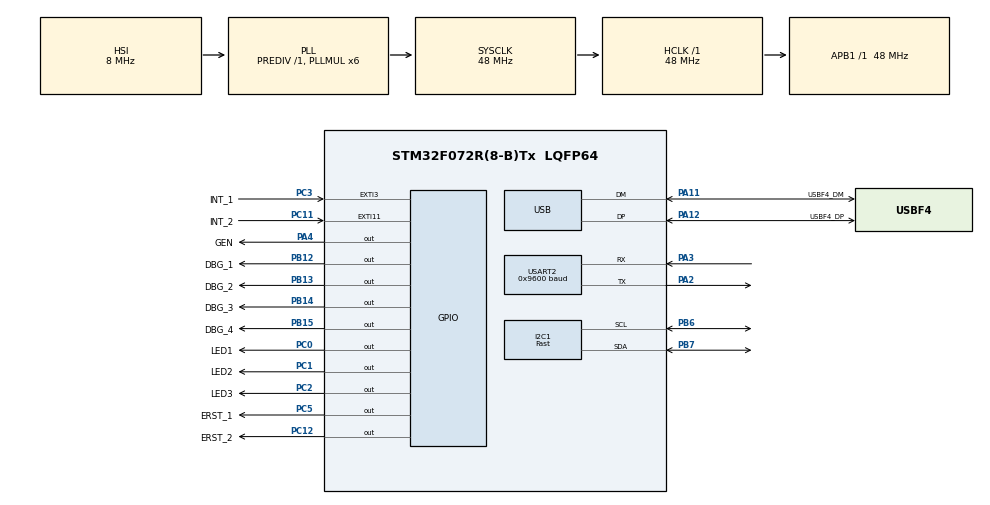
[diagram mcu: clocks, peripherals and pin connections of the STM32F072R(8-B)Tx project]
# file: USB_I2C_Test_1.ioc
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I2C1.I2C_Speed_Mode=I2C_Fast
I2C1.Timing=0x0000020B
Mcu.Family=STM32F0
Mcu.Name=STM32F072R(8-B)Tx
Mcu.Package=LQFP64
NVIC.EXTI2_3_IRQn=true\:0\:0\:false\:false\:true\:true\:true
NVIC.EXTI4_15_IRQn=true\:0\:0\:false\:false\:true\:true\:true
NVIC.TIM14_IRQn=true\:0\:0\:false\:false\:true\:true\:true
NVIC.TIM6_DAC_IRQn=true\:0\:0\:false\:false\:true\:true\:true
NVIC.TIM7_IRQn=true\:0\:0\:false\:false\:true\:true\:true
NVIC.USB_IRQn=true\:0\:0\:false\:false\:true\:false\:true
PA11.GPIO_Label=USBF4_DM
PA11.Mode=Device
PA11.Signal=USB_DM
PA12.GPIO_Label=USBF4_DP
PA12.Mode=Device
PA12.Signal=USB_DP
PA13.GPIO_Label=SWDIO
PA13.Mode=Serial_Wire
PA13.Signal=SYS_SWDIO
PA14.GPIO_Label=SWCLK
PA14.Mode=Serial_Wire
PA14.Signal=SYS_SWCLK
PA2.Mode=Asynchronous
PA2.Signal=USART2_TX
PA3.Mode=Asynchronous
PA3.Signal=USART2_RX
PA4.GPIO_Label=GEN
PA4.GPIO_Speed=GPIO_SPEED_FREQ_HIGH
PA4.Signal=GPIO_Output
PB10.GPIO_Label=I2C2_SCL[EXT/RF-E2P_SCL]
PB10.Signal=I2C2_SCL
PB11.GPIO_Label=I2C2_SDA[EXT/RF-E2P_SDA]
PB11.Signal=I2C2_SDA
PB12.GPIO_Label=DBG_1
PB12.Signal=GPIO_Output
PB13.GPIO_Label=DBG_2
PB13.Signal=GPIO_Output
PB14.GPIO_Label=DBG_3
PB14.Signal=GPIO_Output
PB15.GPIO_Label=DBG_4
PB15.Signal=GPIO_Output
PB6.Mode=I2C
PB6.Signal=I2C1_SCL
PB7.Mode=I2C
PB7.Signal=I2C1_SDA
PC0.GPIO_Label=LED1
PC0.GPIO_ModeDefaultOutputPP=GPIO_MODE_OUTPUT_OD
PC0.GPIO_Speed=GPIO_SPEED_FREQ_LOW
PC0.PinState=GPIO_PIN_SET
PC0.Signal=GPIO_Output
PC1.GPIO_Label=LED2
PC1.GPIO_ModeDefaultOutputPP=GPIO_MODE_OUTPUT_OD
PC1.PinState=GPIO_PIN_SET
PC1.Signal=GPIO_Output
PC11.GPIO_Label=INT_2
PC11.GPIO_ModeDefaultEXTI=GPIO_MODE_IT_FALLING
PC11.Signal=GPXTI11
PC12.GPIO_Label=ERST_2
PC12.GPIO_ModeDefaultOutputPP=GPIO_MODE_OUTPUT_OD
PC12.Signal=GPIO_Output
PC2.GPIO_Label=LED3
PC2.GPIO_ModeDefaultOutputPP=GPIO_MODE_OUTPUT_OD
PC2.PinState=GPIO_PIN_SET
PC2.Signal=GPIO_Output
PC3.GPIO_Label=INT_1
PC3.GPIO_ModeDefaultEXTI=GPIO_MODE_IT_FALLING
PC3.Signal=GPXTI3
PC5.GPIO_Label=ERST_1
PC5.GPIO_ModeDefaultOutputPP=GPIO_MODE_OUTPUT_OD
PC5.Signal=GPIO_Output
PF0-OSC_IN.Mode=HSE-External-Clock-Source
PF0-OSC_IN.Signal=RCC_OSC_IN
ProjectManager.HeapSize=0x800
ProjectManager.StackSize=0x600
ProjectManager.TargetToolchain=STM32CubeIDE
RCC.AHBFreq_Value=48000000
RCC.APB1Freq_Value=48000000
RCC.APB1TimFreq_Value=48000000
RCC.HCLKFreq_Value=48000000
RCC.PLLMUL=RCC_PLL_MUL6
RCC.SYSCLKFreq_VALUE=48000000
RCC.SYSCLKSource=RCC_SYSCLKSOURCE_PLLCLK
USART2.AutoBaudRateEnableParam=UART_ADVFEATURE_AUTOBAUDRATE_ENABLE
USART2.BaudRate=0x9600
USART2.VirtualMode-Asynchronous=VM_ASYNC
USB.lpm_enable=DISABLE
USB.phy_itface=PCD_PHY_EMBEDDED
USB.speed=PCD_SPEED_FULL
USB_DEVICE.CLASS_NAME_FS=CDC
USB_DEVICE.PRODUCT_STRING_CDC_FS=MHL Development Board
USB_DEVICE.USBD_SELF_POWERED=0
USB_DEVICE.VirtualMode=Cdc
USB_DEVICE.VirtualModeFS=Cdc_FS
VP_RCC_USB.Mode=CRS SYNC Source USB
VP_TIM14_VS_ClockSourceINT.Mode=Enable_Timer
VP_TIM6_VS_ClockSourceINT.Mode=Enable_Timer
VP_TIM7_VS_ClockSourceINT.Mode=Enable_Timer
VP_USB_DEVICE_VS_USB_DEVICE_CDC_FS.Mode=CDC_FS
board=STM32F072B-DISCO

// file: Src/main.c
/* USER CODE BEGIN Header */
/**
  ******************************************************************************
  * @file           : main.c
  * @brief          : Main program body
  ******************************************************************************
  * @attention
  *
  * <h2><center>&copy; Copyright (c) 2019 STMicroelectronics.
  * All rights reserved.</center></h2>
  *
  * This software component is licensed by ST under BSD 3-Clause license,
  * the "License"; You may not use this file except in compliance with the
  * License. You may obtain a copy of the License at:
  *                        opensource.org/licenses/BSD-3-Clause
  *
  ******************************************************************************
  */
/* USER CODE END Header */

#include "main.h"
#include "usb_device.h"

/* USER CODE BEGIN Includes */
#include "i2c_comm.h"
#include "usbd_cdc_if.h"
/* USER CODE END Includes */

/* USER CODE BEGIN PD */
#define EXP_OUTPUTS_ADDR (0x21)<<1
#define EXP_INPUTS_ADDR  (0x20)<<1

#define BUF_LENGTH 4
#define NUM_OF_COMMANDS 10

#define I2C_BUS_STATUS_LED 1
#define USB_STATUS_LED	   2
#define ERROR_LED		   3

#define ON	1
#define OFF 0
/* USER CODE END PD */

I2C_HandleTypeDef hi2c1;

TIM_HandleTypeDef htim6;
TIM_HandleTypeDef htim7;
TIM_HandleTypeDef htim14;

UART_HandleTypeDef huart2;

/* USER CODE BEGIN PV */

uint8_t is_USB_Connected;
uint8_t transmit_inputs;

uint8_t data_buffer[BUF_LENGTH];
uint8_t data_available;

uint8_t encoded_command_byte_2[NUM_OF_COMMANDS] = {0xA1,0xA2,0xA3,0xA4,0xA5, \
												   0xA6,0xA7,0xA8,0xA9,0xDC };

uint16_t inputs_read;

uint32_t timer6_counter;
uint32_t timer7_counter;
uint32_t timer14_counter;

/* USER CODE END PV */

void SystemClock_Config(void);
static void MX_GPIO_Init(void);
static void MX_I2C1_Init(void);
static void MX_USART2_UART_Init(void);
static void MX_TIM6_Init(void);
static void MX_TIM7_Init(void);
static void MX_TIM14_Init(void);
/* USER CODE BEGIN PFP */
void Reset_Expanders(void);
void flush_data_buffer(void);
void enable_interrupt_handlers(void);
int I2C_Peripherals_available();
void status_led_control(int led, int state);
void LED_Quick_Flash(void);
/* USER CODE END PFP */

int main(void)
{

  /* MCU Configuration--------------------------------------------------------*/

  /* Reset of all peripherals, Initializes the Flash interface and the Systick. */
  HAL_Init();

  /* USER CODE BEGIN Init */

  is_USB_Connected = 0;
  transmit_inputs = 0;
  flush_data_buffer();

  /* USER CODE END Init */

  /* Configure the system clock */
  SystemClock_Config();

  /* Initialize all configured peripherals */
  MX_GPIO_Init();
  MX_I2C1_Init();
  MX_USART2_UART_Init();
  MX_USB_DEVICE_Init();
  MX_TIM6_Init();
  MX_TIM7_Init();
  MX_TIM14_Init();
  /* USER CODE BEGIN 2 */
  LED_Quick_Flash();

  HAL_Delay(1000);

  Reset_Expanders();

  I2C_Peripherals_available();

  initialize_expanders(hi2c1);

  /*Test code here*/
  //configure_pupd_enable_registers(hi2c1, EXP_INPUTS_ADDR, 0xff);
  //configure_pupd_selection_registers(hi2c1, EXP_INPUTS_ADDR, 0x00);
  /*Test code above*/

  enable_interrupt_handlers();

  /* USER CODE END 2 */

  /* Infinite loop */
  /* USER CODE BEGIN WHILE */
  while (1)
  {
	  // For debugging info used with STMStudio
	  timer6_counter = TIM6->CNT;
	  timer7_counter = TIM7->CNT;
	  timer14_counter = TIM14->CNT;

	  if(data_available == 1)
	  {
		  if(data_buffer[0] == 0x00 || data_buffer[0] == 0xCB)
		  {
			  // Command 0xA1 -> Configure Outputs
			  if(data_buffer[1] == encoded_command_byte_2[0])
			  {
				  uint16_t tmp = ((data_buffer[2] <<8)| data_buffer[3]);
				  configure_outputs(hi2c1, tmp);
			  }

			  // Command 0xA2 -> Read Outputs State
			  else if(data_buffer[1] == encoded_command_byte_2[1])
			  {
				  uint16_t output_states;
				  output_states = read_all_outputs(hi2c1);

				  uint8_t output_states_buffer[2];

				  /* To identify that the transmitted data are outputs
				   * we send as first byte the byte 0xB2
				   */
				  output_states_buffer[0] = 0xB2;

				  output_states_buffer[1] = ((output_states)>>8);	//High Byte
				  output_states_buffer[2] = output_states;			//Low Byte

				  CDC_Transmit_FS(output_states_buffer, 3);
			  }

			  // Command 0xA3 -> Read Inputs State
			  else if(data_buffer[1] == encoded_command_byte_2[2])
			  {
				  uint16_t inputs_states;
				  inputs_states = read_all_inputs(hi2c1);

				  uint8_t inputs_states_buffer[3];

				  /* To identify that the transmitted data are inputs
				   * we send as first byte the byte 0xB1
				   */
				  inputs_states_buffer[0] = 0xB1;

				  inputs_states_buffer[1] = ((inputs_states)>>8); //High byte
				  inputs_states_buffer[2] =   inputs_states;	  //Low  byte
				  CDC_Transmit_FS(inputs_states_buffer, 3);
			  }

			  // Command 0xA4 -> Generate clock pulse
			  else if(data_buffer[1] == encoded_command_byte_2[3])
			  {
				  /* Start the countdown timer */
				  HAL_GPIO_WritePin(GEN_GPIO_Port, GEN_Pin, GPIO_PIN_SET);
				  HAL_TIM_Base_Start(&htim6);
			  }

			  // Command 0xA5 -> Establish Connection
			  else if(data_buffer[1] == encoded_command_byte_2[4])
			  {
				  if(data_buffer[2] == 0x75 && data_buffer[3] == 0x31)
				  {
					/* Refresh the "Lost connection with PC" timer */
					TIM14->CNT = 0;

					  is_USB_Connected = 1;
					  status_led_control(USB_STATUS_LED, ON);
				  }
			  }

			  // Command 0xA6 -> Connection OK Report Message
			  else if(data_buffer[1] == encoded_command_byte_2[5])
			  {
				  TIM14->CNT = 0;
				  is_USB_Connected = 1;
			  }

			  // Command 0xA7 -> Disconnect Dev Board
			  else if(data_buffer[1] == encoded_command_byte_2[6])
			  {
				  is_USB_Connected = 0;
				  status_led_control(USB_STATUS_LED, OFF);
			  }

			  else if(data_buffer[1] == encoded_command_byte_2[7])
			  {

			  }

			  else if(data_buffer[1] == encoded_command_byte_2[8])
			  {

			  }
			  else if(data_buffer[1] == encoded_command_byte_2[9])
			  {
				  //DEBUG

			  }
			  else
			  {

			  }

		  }

		  data_available = 0;
		  flush_data_buffer();
	  }

	  if(transmit_inputs == 1 && is_USB_Connected==1)
	  {
	  	  uint16_t inputs_states;
	  	  inputs_states = read_all_inputs(hi2c1);

	  	  uint8_t inputs_states_buffer[3];

	  	  /* To identify we send back the state of the inputs
	  	   * we send the byte 0xB1
	  	   */
	  	  inputs_states_buffer[0] = 0xB1;

	  	  inputs_states_buffer[1] = ((inputs_states)>>8); //High byte
	  	  inputs_states_buffer[2] =   inputs_states;	  //Low  byte
	  	  CDC_Transmit_FS(inputs_states_buffer, 3);

	  	  transmit_inputs = 0;

	  	  /* Debounce time when input is unstable
	  	   * to avoid system congestion (by
         * flooding the communication channel) */
	  	  HAL_Delay(20);
	  }

	  //DBG
    //HAL_GPIO_WritePin(LD5_GPIO_Port,LD5_Pin,HAL_GPIO_ReadPin(INT_1_GPIO_Port,INT_1_Pin));

	  /*else
	  {
	  	  //__NOP();
		  uint8_t tmp_buf[4] = {0x57,0x4F,0x4C,0x46};
	  	  CDC_Transmit_FS(tmp_buf, 4);
	  	  HAL_Delay(2000);
	  }*/

	  /*
	  GPIO_PinState tmp_read;
	  tmp_read = HAL_GPIO_ReadPin(INT_1_GPIO_Port, INT_1_Pin);

	  HAL_GPIO_WritePin(LD5_GPIO_Port, LD5_Pin, tmp_read);

	  if(HAL_GPIO_ReadPin(B1_GPIO_Port, B1_Pin) == GPIO_PIN_SET)
	  {
		  while(HAL_GPIO_ReadPin(B1_GPIO_Port, B1_Pin) != GPIO_PIN_RESET)
		  {

		  }
		  inputs_read = read_all_inputs(hi2c1);
	  }
	  */

    /* USER CODE END WHILE */

  }
}

void SystemClock_Config(void)
{
  RCC_OscInitTypeDef RCC_OscInitStruct = {0};
  RCC_ClkInitTypeDef RCC_ClkInitStruct = {0};
  RCC_PeriphCLKInitTypeDef PeriphClkInit = {0};
  RCC_CRSInitTypeDef RCC_CRSInitStruct = {0};

  /** Initializes the CPU, AHB and APB busses clocks
  */
  RCC_OscInitStruct.OscillatorType = RCC_OSCILLATORTYPE_HSI|RCC_OSCILLATORTYPE_HSI48;
  RCC_OscInitStruct.HSIState = RCC_HSI_ON;
  RCC_OscInitStruct.HSI48State = RCC_HSI48_ON;
  RCC_OscInitStruct.HSICalibrationValue = RCC_HSICALIBRATION_DEFAULT;
  RCC_OscInitStruct.PLL.PLLState = RCC_PLL_ON;
  RCC_OscInitStruct.PLL.PLLSource = RCC_PLLSOURCE_HSI;
  RCC_OscInitStruct.PLL.PLLMUL = RCC_PLL_MUL6;
  RCC_OscInitStruct.PLL.PREDIV = RCC_PREDIV_DIV1;
  if (HAL_RCC_OscConfig(&RCC_OscInitStruct) != HAL_OK)
  {
    Error_Handler();
  }
  /** Initializes the CPU, AHB and APB busses clocks
  */
  RCC_ClkInitStruct.ClockType = RCC_CLOCKTYPE_HCLK|RCC_CLOCKTYPE_SYSCLK
                              |RCC_CLOCKTYPE_PCLK1;
  RCC_ClkInitStruct.SYSCLKSource = RCC_SYSCLKSOURCE_PLLCLK;
  RCC_ClkInitStruct.AHBCLKDivider = RCC_SYSCLK_DIV1;
  RCC_ClkInitStruct.APB1CLKDivider = RCC_HCLK_DIV1;

  if (HAL_RCC_ClockConfig(&RCC_ClkInitStruct, FLASH_LATENCY_1) != HAL_OK)
  {
    Error_Handler();
  }
  PeriphClkInit.PeriphClockSelection = RCC_PERIPHCLK_USB|RCC_PERIPHCLK_USART2
                              |RCC_PERIPHCLK_I2C1;
  PeriphClkInit.Usart2ClockSelection = RCC_USART2CLKSOURCE_PCLK1;
  PeriphClkInit.I2c1ClockSelection = RCC_I2C1CLKSOURCE_HSI;
  PeriphClkInit.UsbClockSelection = RCC_USBCLKSOURCE_HSI48;

  if (HAL_RCCEx_PeriphCLKConfig(&PeriphClkInit) != HAL_OK)
  {
    Error_Handler();
  }
  /** Enable the SYSCFG APB clock
  */
  __HAL_RCC_CRS_CLK_ENABLE();
  /** Configures CRS
  */
  RCC_CRSInitStruct.Prescaler = RCC_CRS_SYNC_DIV1;
  RCC_CRSInitStruct.Source = RCC_CRS_SYNC_SOURCE_USB;
  RCC_CRSInitStruct.Polarity = RCC_CRS_SYNC_POLARITY_RISING;
  RCC_CRSInitStruct.ReloadValue = __HAL_RCC_CRS_RELOADVALUE_CALCULATE(48000000,1000);
  RCC_CRSInitStruct.ErrorLimitValue = 34;
  RCC_CRSInitStruct.HSI48CalibrationValue = 32;

  HAL_RCCEx_CRSConfig(&RCC_CRSInitStruct);
}

static void MX_I2C1_Init(void)
{

  hi2c1.Instance = I2C1;
  hi2c1.Init.Timing = 0x0000020B;
  hi2c1.Init.OwnAddress1 = 0;
  hi2c1.Init.AddressingMode = I2C_ADDRESSINGMODE_7BIT;
  hi2c1.Init.DualAddressMode = I2C_DUALADDRESS_DISABLE;
  hi2c1.Init.OwnAddress2 = 0;
  hi2c1.Init.OwnAddress2Masks = I2C_OA2_NOMASK;
  hi2c1.Init.GeneralCallMode = I2C_GENERALCALL_DISABLE;
  hi2c1.Init.NoStretchMode = I2C_NOSTRETCH_DISABLE;
  if (HAL_I2C_Init(&hi2c1) != HAL_OK)
  {
    Error_Handler();
  }
  /** Configure Analogue filter
  */
  if (HAL_I2CEx_ConfigAnalogFilter(&hi2c1, I2C_ANALOGFILTER_ENABLE) != HAL_OK)
  {
    Error_Handler();
  }
  /** Configure Digital filter
  */
  if (HAL_I2CEx_ConfigDigitalFilter(&hi2c1, 0) != HAL_OK)
  {
    Error_Handler();
  }

}

static void MX_TIM6_Init(void)
{

  TIM_MasterConfigTypeDef sMasterConfig = {0};

  /* USER CODE BEGIN TIM6_Init 1 */

  //Prescaler value : 100-1
  //Period value : 480-1

  /* USER CODE END TIM6_Init 1 */
  htim6.Instance = TIM6;
  htim6.Init.Prescaler = 100-1;
  htim6.Init.CounterMode = TIM_COUNTERMODE_UP;
  htim6.Init.Period = 480-1;
  htim6.Init.AutoReloadPreload = TIM_AUTORELOAD_PRELOAD_DISABLE;
  if (HAL_TIM_Base_Init(&htim6) != HAL_OK)
  {
    Error_Handler();
  }
  sMasterConfig.MasterOutputTrigger = TIM_TRGO_RESET;
  sMasterConfig.MasterSlaveMode = TIM_MASTERSLAVEMODE_DISABLE;
  if (HAL_TIMEx_MasterConfigSynchronization(&htim6, &sMasterConfig) != HAL_OK)
  {
    Error_Handler();
  }
  /* USER CODE BEGIN TIM6_Init 2 */

  if (HAL_TIM_Base_Start_IT(&htim6) != HAL_OK)
  {
  	  /* Starting Error */
  	  Error_Handler();
  }

  /* Initially we want the CLK Generation timer
   * to be deactivated. It's activated when the
   * generation command arrives from the PC.
   */
  HAL_TIM_Base_Stop(&htim6);

  /* USER CODE END TIM6_Init 2 */

}

static void MX_TIM7_Init(void)
{

  TIM_MasterConfigTypeDef sMasterConfig = {0};

  /* USER CODE BEGIN TIM7_Init 1 */

  //We configure Timer 7 (TIM7) to have a frequency
  	//of 1000Hz (T=50ms) used create a 1ms timebase
  	//so it transmits the output states every one ms

  //Prescaler value : 500-1
    //Period value : 4800-1

  /* USER CODE END TIM7_Init 1 */
  htim7.Instance = TIM7;
  htim7.Init.Prescaler = 500-1;
  htim7.Init.CounterMode = TIM_COUNTERMODE_UP;
  htim7.Init.Period = 4800-1;
  htim7.Init.AutoReloadPreload = TIM_AUTORELOAD_PRELOAD_DISABLE;
  if (HAL_TIM_Base_Init(&htim7) != HAL_OK)
  {
    Error_Handler();
  }
  sMasterConfig.MasterOutputTrigger = TIM_TRGO_RESET;
  sMasterConfig.MasterSlaveMode = TIM_MASTERSLAVEMODE_DISABLE;
  if (HAL_TIMEx_MasterConfigSynchronization(&htim7, &sMasterConfig) != HAL_OK)
  {
    Error_Handler();
  }
  /* USER CODE BEGIN TIM7_Init 2 */

  if (HAL_TIM_Base_Start_IT(&htim7) != HAL_OK)
  {
  	  /* Starting Error */
  	  Error_Handler();
  }

  /* USER CODE END TIM7_Init 2 */

}

static void MX_TIM14_Init(void)
{

  /* USER CODE BEGIN TIM14_Init 1 */

	//We configure Timer 14 (TIM14) to have a frequency
	//of 0.2Hz (T=5sec) used to check if the USB connection
	//is still alive

	//Presc Value : 10000
	//Period Value : 24000

  /* USER CODE END TIM14_Init 1 */
  htim14.Instance = TIM14;
  htim14.Init.Prescaler = 10000-1;
  htim14.Init.CounterMode = TIM_COUNTERMODE_UP;
  htim14.Init.Period = 24000-1;
  htim14.Init.ClockDivision = TIM_CLOCKDIVISION_DIV1;
  htim14.Init.AutoReloadPreload = TIM_AUTORELOAD_PRELOAD_DISABLE;
  if (HAL_TIM_Base_Init(&htim14) != HAL_OK)
  {
    Error_Handler();
  }
  /* USER CODE BEGIN TIM14_Init 2 */

  if (HAL_TIM_Base_Start_IT(&htim14) != HAL_OK)
  {
  	  /* Starting Error */
  	  Error_Handler();
  }

  /* USER CODE END TIM14_Init 2 */

}

static void MX_USART2_UART_Init(void)
{

  huart2.Instance = USART2;
  huart2.Init.BaudRate = 0x9600;
  huart2.Init.WordLength = UART_WORDLENGTH_8B;
  huart2.Init.StopBits = UART_STOPBITS_1;
  huart2.Init.Parity = UART_PARITY_NONE;
  huart2.Init.Mode = UART_MODE_TX_RX;
  huart2.Init.HwFlowCtl = UART_HWCONTROL_NONE;
  huart2.Init.OverSampling = UART_OVERSAMPLING_16;
  huart2.Init.OneBitSampling = UART_ONE_BIT_SAMPLE_DISABLE;
  huart2.AdvancedInit.AdvFeatureInit = UART_ADVFEATURE_AUTOBAUDRATE_INIT;
  huart2.AdvancedInit.AutoBaudRateEnable = UART_ADVFEATURE_AUTOBAUDRATE_ENABLE;
  huart2.AdvancedInit.AutoBaudRateMode = UART_ADVFEATURE_AUTOBAUDRATE_ONSTARTBIT;
  if (HAL_UART_Init(&huart2) != HAL_OK)
  {
    Error_Handler();
  }

}

static void MX_GPIO_Init(void)
{
  GPIO_InitTypeDef GPIO_InitStruct = {0};

  /* GPIO Ports Clock Enable */
  __HAL_RCC_GPIOC_CLK_ENABLE();
  __HAL_RCC_GPIOF_CLK_ENABLE();
  __HAL_RCC_GPIOA_CLK_ENABLE();
  __HAL_RCC_GPIOB_CLK_ENABLE();
  __HAL_RCC_GPIOD_CLK_ENABLE();

  /*Configure GPIO pin Output Level */
  HAL_GPIO_WritePin(GPIOC, LED1_Pin|LED2_Pin|LED3_Pin, GPIO_PIN_SET);

  /*Configure GPIO pin Output Level */
  HAL_GPIO_WritePin(GEN_GPIO_Port, GEN_Pin, GPIO_PIN_RESET);

  /*Configure GPIO pin Output Level */
  HAL_GPIO_WritePin(GPIOC, ERST_1_Pin|ERST_2_Pin, GPIO_PIN_RESET);

  /*Configure GPIO pin Output Level */
  HAL_GPIO_WritePin(GPIOB, DBG_1_Pin|DBG_2_Pin|DBG_3_Pin|DBG_4_Pin, GPIO_PIN_RESET);

  /*Configure GPIO pins : PC13 PC14 PC15 PC4
                           PC6 PC7 PC8 PC9
                           PC10 */
  GPIO_InitStruct.Pin = GPIO_PIN_13|GPIO_PIN_14|GPIO_PIN_15|GPIO_PIN_4
                          |GPIO_PIN_6|GPIO_PIN_7|GPIO_PIN_8|GPIO_PIN_9
                          |GPIO_PIN_10;
  GPIO_InitStruct.Mode = GPIO_MODE_ANALOG;
  GPIO_InitStruct.Pull = GPIO_NOPULL;
  HAL_GPIO_Init(GPIOC, &GPIO_InitStruct);

  /*Configure GPIO pin : PF1 */
  GPIO_InitStruct.Pin = GPIO_PIN_1;
  GPIO_InitStruct.Mode = GPIO_MODE_ANALOG;
  GPIO_InitStruct.Pull = GPIO_NOPULL;
  HAL_GPIO_Init(GPIOF, &GPIO_InitStruct);

  /*Configure GPIO pins : LED1_Pin LED2_Pin LED3_Pin ERST_1_Pin
                           ERST_2_Pin */
  GPIO_InitStruct.Pin = LED1_Pin|LED2_Pin|LED3_Pin|ERST_1_Pin
                          |ERST_2_Pin;
  GPIO_InitStruct.Mode = GPIO_MODE_OUTPUT_OD;
  GPIO_InitStruct.Pull = GPIO_NOPULL;
  GPIO_InitStruct.Speed = GPIO_SPEED_FREQ_LOW;
  HAL_GPIO_Init(GPIOC, &GPIO_InitStruct);

  /*Configure GPIO pins : INT_1_Pin INT_2_Pin */
  GPIO_InitStruct.Pin = INT_1_Pin|INT_2_Pin;
  GPIO_InitStruct.Mode = GPIO_MODE_IT_FALLING;
  GPIO_InitStruct.Pull = GPIO_NOPULL;
  HAL_GPIO_Init(GPIOC, &GPIO_InitStruct);

  /*Configure GPIO pins : PA0 PA1 PA5 PA6
                           PA7 PA8 PA9 PA10
                           PA15 */
  GPIO_InitStruct.Pin = GPIO_PIN_0|GPIO_PIN_1|GPIO_PIN_5|GPIO_PIN_6
                          |GPIO_PIN_7|GPIO_PIN_8|GPIO_PIN_9|GPIO_PIN_10
                          |GPIO_PIN_15;
  GPIO_InitStruct.Mode = GPIO_MODE_ANALOG;
  GPIO_InitStruct.Pull = GPIO_NOPULL;
  HAL_GPIO_Init(GPIOA, &GPIO_InitStruct);

  /*Configure GPIO pin : GEN_Pin */
  GPIO_InitStruct.Pin = GEN_Pin;
  GPIO_InitStruct.Mode = GPIO_MODE_OUTPUT_PP;
  GPIO_InitStruct.Pull = GPIO_NOPULL;
  GPIO_InitStruct.Speed = GPIO_SPEED_FREQ_HIGH;
  HAL_GPIO_Init(GEN_GPIO_Port, &GPIO_InitStruct);

  /*Configure GPIO pins : PB0 PB1 PB2 PB3
                           PB4 PB5 PB8 PB9 */
  GPIO_InitStruct.Pin = GPIO_PIN_0|GPIO_PIN_1|GPIO_PIN_2|GPIO_PIN_3
                          |GPIO_PIN_4|GPIO_PIN_5|GPIO_PIN_8|GPIO_PIN_9;
  GPIO_InitStruct.Mode = GPIO_MODE_ANALOG;
  GPIO_InitStruct.Pull = GPIO_NOPULL;
  HAL_GPIO_Init(GPIOB, &GPIO_InitStruct);

  /*Configure GPIO pins : I2C2_SCL_Pin I2C2_SDA_Pin */
  GPIO_InitStruct.Pin = I2C2_SCL_Pin|I2C2_SDA_Pin;
  GPIO_InitStruct.Mode = GPIO_MODE_AF_OD;
  GPIO_InitStruct.Pull = GPIO_PULLUP;
  GPIO_InitStruct.Speed = GPIO_SPEED_FREQ_HIGH;
  GPIO_InitStruct.Alternate = GPIO_AF1_I2C2;
  HAL_GPIO_Init(GPIOB, &GPIO_InitStruct);

  /*Configure GPIO pins : DBG_1_Pin DBG_2_Pin DBG_3_Pin DBG_4_Pin */
  GPIO_InitStruct.Pin = DBG_1_Pin|DBG_2_Pin|DBG_3_Pin|DBG_4_Pin;
  GPIO_InitStruct.Mode = GPIO_MODE_OUTPUT_PP;
  GPIO_InitStruct.Pull = GPIO_NOPULL;
  GPIO_InitStruct.Speed = GPIO_SPEED_FREQ_LOW;
  HAL_GPIO_Init(GPIOB, &GPIO_InitStruct);

  /*Configure GPIO pin : PD2 */
  GPIO_InitStruct.Pin = GPIO_PIN_2;
  GPIO_InitStruct.Mode = GPIO_MODE_ANALOG;
  GPIO_InitStruct.Pull = GPIO_NOPULL;
  HAL_GPIO_Init(GPIOD, &GPIO_InitStruct);

  /* EXTI interrupt init*/
  HAL_NVIC_SetPriority(EXTI2_3_IRQn, 0, 0);
  HAL_NVIC_EnableIRQ(EXTI2_3_IRQn);

  HAL_NVIC_SetPriority(EXTI4_15_IRQn, 0, 0);
  HAL_NVIC_EnableIRQ(EXTI4_15_IRQn);

}

/* USER CODE BEGIN 4 */

/*
 * @brief Flashes all the LEDs 3 times at a rate of 400ms
 *
 */
void LED_Quick_Flash()
{
	for(int i=0;i<3;i++)
	{
		status_led_control(ERROR_LED, ON);
		status_led_control(I2C_BUS_STATUS_LED, ON);
		status_led_control(USB_STATUS_LED, ON);

		HAL_Delay(400);

		status_led_control(ERROR_LED, OFF);
		status_led_control(I2C_BUS_STATUS_LED, OFF);
		status_led_control(USB_STATUS_LED, OFF);

		HAL_Delay(400);
	}
}

/*
 * @brief Checks that the I/O Expanders are up and reachable
 * 		  If the I/O Expanders are ready and listening
 * 		  the function turns on the I2C_BUS_STATUS_LED
 */
int I2C_Peripherals_available()
{
	if(HAL_I2C_IsDeviceReady(&hi2c1,EXP_INPUTS_ADDR,10,1000) == HAL_OK \
			&& HAL_I2C_IsDeviceReady(&hi2c1,EXP_OUTPUTS_ADDR,10,1000) == HAL_OK)
	{
		status_led_control(I2C_BUS_STATUS_LED, ON);

		//FOR DEBUG PURPOSES
		//HAL_GPIO_WritePin(LD4_GPIO_Port, LD4_Pin, GPIO_PIN_SET);
	}

	return 0;
}

/*
 * @brief Clears the data (buffer) received from the USB
 * 		  Usually called after a successful reception
 */
void flush_data_buffer()
{
	for(int j=0;j<BUF_LENGTH;j++)
	{
		data_buffer[j] = 0x00;
	}
}

/*
 * @brief Enable the interrupt handlers
 */
void enable_interrupt_handlers()
{
	HAL_NVIC_SetPriority(EXTI2_3_IRQn, 2, 0);
	HAL_NVIC_EnableIRQ(EXTI2_3_IRQn);
}

/*
 * @brief Function that is called upon an External Interrupt
 * 		  When the INT_1 pin becomes LOW, we set a global flag
 * 		  to notify that there's been an update on the Dev Board
 *
 * @param GPIO_Pin : The source (External GPIO pin) of the Interrupt
 */
void HAL_GPIO_EXTI_Callback(uint16_t GPIO_Pin)
{

	if(GPIO_Pin == INT_1_Pin)
	{
		transmit_inputs = 1;
	}

	/* Wait 4ms for debouncing*/
	//HAL_Delay(4);

    /* Toggle LED3 */
	/* Debug Purposes*/
	//HAL_GPIO_TogglePin(LD5_GPIO_Port, LD5_Pin);

}

/**
  * @brief  Period elapsed callback in non blocking mode
  * @param  htim : TIM handle
  * @retval None
  */
void HAL_TIM_PeriodElapsedCallback(TIM_HandleTypeDef *htim)
{
	// Create a 1msec pulse
	if(htim->Instance == TIM6)
	{
		HAL_TIM_Base_Stop(&htim6);
		HAL_GPIO_WritePin(GEN_GPIO_Port, GEN_Pin, GPIO_PIN_RESET);
	}

	// Set the flag to transmit inputs status
	else if(htim->Instance == TIM7)
	{
		transmit_inputs = 1;
	}

	/* If counter reaches ARR value (5sec)
	*  the connection with the computer
	*  is considered lost
	* */
	else if(htim->Instance == TIM14)
	{
		is_USB_Connected = 0;
		status_led_control(USB_STATUS_LED, OFF);
	}
}

/*
 * @brief Switch ON/OFF the Dev Board LEDs
 * 		  The Board has 3 available LEDs
 * 		  LED1 = Red LED
 * 		  LED2 = Orange LED
 * 		  LED3 = Blue LED
 * @param  The led to be switched
 * @param  The state to be switched which
 * 		   can be either ON or OFF
 * @retval None
 */
void status_led_control(int led, int state)
{
	/* For open-drain outputs a "0" in the Output register
	 * activates the N-MOS (and current is flowing to ground)
	 * whereas a "1" in the Output register leaves the port
	 * in Hi-Z mode. So to activate the LED's we need to set
	 * a "0" (GPIO_PIN_RESET) on the Output register
	 */
	if(led == ERROR_LED)
	{
		if(state == ON)
		{
			HAL_GPIO_WritePin(LED1_GPIO_Port, LED1_Pin, GPIO_PIN_RESET);

			/* Debug purposes */
			//HAL_GPIO_WritePin(LD3_GPIO_Port, LD3_Pin, GPIO_PIN_SET);
		}
		else if(state == OFF)
		{
			HAL_GPIO_WritePin(LED1_GPIO_Port, LED1_Pin, GPIO_PIN_SET);

			/* Debug purposes */
			//HAL_GPIO_WritePin(LD3_GPIO_Port, LD3_Pin, GPIO_PIN_RESET);
		}
	}

	else if(led == I2C_BUS_STATUS_LED)
	{
		if(state == ON)
		{
			HAL_GPIO_WritePin(LED2_GPIO_Port, LED2_Pin, GPIO_PIN_RESET);

			/* Debug purposes */
			//HAL_GPIO_WritePin(LD4_GPIO_Port, LD4_Pin, GPIO_PIN_SET);
		}
		else if(state == OFF)
		{
			HAL_GPIO_WritePin(LED2_GPIO_Port, LED2_Pin, GPIO_PIN_SET);

			/* Debug purposes */
			//HAL_GPIO_WritePin(LD4_GPIO_Port, LD4_Pin, GPIO_PIN_RESET);
		}
	}

	else if(led == USB_STATUS_LED)
	{
		if(state == ON)
		{
			HAL_GPIO_WritePin(LED3_GPIO_Port, LED3_Pin, GPIO_PIN_RESET);

			/* Debug purposes */
			//HAL_GPIO_WritePin(LD6_GPIO_Port, LD6_Pin, GPIO_PIN_SET);
		}
		else if(state == OFF)
		{
			HAL_GPIO_WritePin(LED3_GPIO_Port, LED3_Pin, GPIO_PIN_SET);

			/* Debug purposes */
			//HAL_GPIO_WritePin(LD6_GPIO_Port, LD6_Pin, GPIO_PIN_RESET);
		}
	}
}

/*
 * @brief Pull down the external RESET line
 * of the I/O expanders
 */
void Reset_Expanders()
{
	HAL_GPIO_WritePin(ERST_1_GPIO_Port, ERST_1_Pin, GPIO_PIN_RESET);
	HAL_GPIO_WritePin(ERST_2_GPIO_Port, ERST_2_Pin, GPIO_PIN_RESET);

	/*
	 *  Expander Reset signal is connected to HIGH through a high-value
	 *  pull-up resistor (100kOhm) so the reset signal is slow
	 *  We handle the slow signal by adding a small delay to ensure
	 *  the expanders are actually Reset
	 */
	HAL_Delay(1000);

	HAL_GPIO_WritePin(ERST_1_GPIO_Port, ERST_1_Pin, GPIO_PIN_SET);
	HAL_GPIO_WritePin(ERST_2_GPIO_Port, ERST_2_Pin, GPIO_PIN_SET);
}

/* USER CODE END 4 */

void Error_Handler(void)
{
  /* USER CODE BEGIN Error_Handler_Debug */
  /* User can add his own implementation to report the HAL error return state */
	status_led_control(ERROR_LED, ON);
  //HAL_GPIO_WritePin(LD3_GPIO_Port, LD3_Pin, GPIO_PIN_SET);
  /* USER CODE END Error_Handler_Debug */
}

/************************ (C) COPYRIGHT STMicroelectronics *****END OF FILE****/
